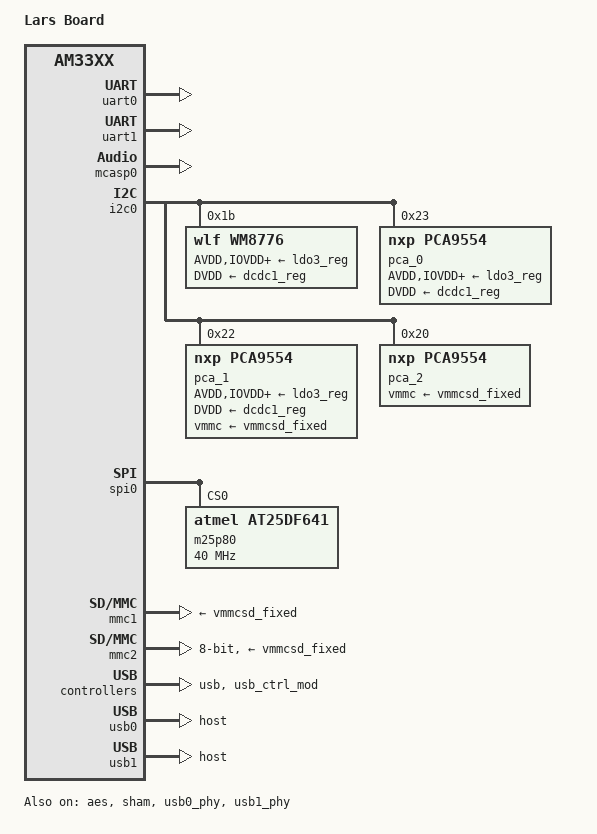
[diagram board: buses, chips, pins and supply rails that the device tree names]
/*
 * Copyright (C) 2012 Texas Instruments Incorporated - http://www.ti.com/
 *
 * This program is free software; you can redistribute it and/or modify
 * it under the terms of the GNU General Public License version 2 as
 * published by the Free Software Foundation.
 */
/dts-v1/;

#include "am33xx.dtsi"
#include "am335x-bone-common.dtsi"

/ {
	model = "Lars Board";
	compatible = "ti,am33xx";	
};

&am33xx_pinmux {
	mcasp0_pins: mcasp0_pins {
		pinctrl-single,pins = <
		AM33XX_IOPAD(0x990, 0x08)
		AM33XX_IOPAD(0x994, 0x08) 
		AM33XX_IOPAD(0x998, 0x08)
		AM33XX_IOPAD(0x99c, 0x28)
		AM33XX_IOPAD(0x9a0, 0x08)
		AM33XX_IOPAD(0x9a4, 0x08)
		AM33XX_IOPAD(0x9a8, 0x28)
		AM33XX_IOPAD(0x9ac, 0x28)
		>;
	};
	
	uart1_pins: uart1_pins {
		pinctrl-single,pins = <0x180 0x30>;
	};
	
	rstctl_pins: rstctl_pins {
		pinctrl-single,pins = <0x50 0x17>;
	};
};

&uart0 {
	status = "okay";
};

&uart1 {
	pinctrl-names = "default";
	pinctrl-0 = <&uart1_pins>;
	status = "okay";
};

&mcasp0	{
	#sound-dai-cells = <0>;
	pinctrl-names = "default";
	pinctrl-0 = <&mcasp0_pins>;
	rx-num-evt = <1>;
	tx-num-evt = <1>;
	serial-dir = <1 2 0 0 0 0 0 0 0 0 0 0 0 0 0 0>;
	num-serializer = <16>;
	tdm-slots = <2>;
	op-mode = <0>;
	status = "okay";
};

&i2c0 {
	status = "okay";
	AVDD-supply = <&ldo3_reg>;
    	IOVDD-supply = <&ldo3_reg>;
    	DRVDD-supply = <&ldo3_reg>;
    	DVDD-supply = <&dcdc1_reg>;
	wm8776: wm8776@1b {
		#sound-dai-cells = <0>;
		reg = <0x1b>;
		compatible = "wlf,wm8776";
		AVDD-supply = <&ldo3_reg>;
    		IOVDD-supply = <&ldo3_reg>;
    		DRVDD-supply = <&ldo3_reg>;
    		DVDD-supply = <&dcdc1_reg>;
		};
		
	pca_0: pca9554@23 {
		reg = <0x23>;
		compatible = "nxp,pca9554";
		AVDD-supply = <&ldo3_reg>;
    		IOVDD-supply = <&ldo3_reg>;
    		DRVDD-supply = <&ldo3_reg>;
    		DVDD-supply = <&dcdc1_reg>;
		linux,gpio-base = <232>;
		};

	pca_1: pca9554@22 {
		reg = <0x22>;
		AVDD-supply = <&ldo3_reg>;
    		IOVDD-supply = <&ldo3_reg>;
    		DRVDD-supply = <&ldo3_reg>;
    		DVDD-supply = <&dcdc1_reg>;
		compatible = "nxp,pca9554";
		vmmc-supply = <&vmmcsd_fixed>;
		linux,gpio-base = <240>;
		};

	pca_2: pca9554@20 {
		reg = <0x20>;
		compatible = "nxp,pca9554";
		vmmc-supply = <&vmmcsd_fixed>;
		linux,gpio-base = <248>;
	};
};

&i2c1 {
	status = "disabled";
};

&i2c2 {
	status = "disabled";
};

&spi0 {
	status = "okay";
	m25p80@0 {
		m25p,fast-read;
		spi-max-frequency = <0x2625a00>;
		reg = <0x00>;
		compatible = "atmel,at25df641";
		#size-cells = <0x01>;
		#address-cells = <0x01>;

		ethaddr@7F0000 {
		reg = <0x7f0000 0x10000>;
		label = "MAC Address";
		};

		uImage@100000 {
		read-only;
		reg = <0x100000 0x500000>;
		label = "Linux Kernel";
		};

		ubootenv@F0000 {
		reg = <0xf0000 0x10000>;
		label = "U-Boot Environment";
		};

		uboot@80000 {
		read-only;
		reg = <0x80000 0x70000>;
		label = "U-Boot";
		};

		spl@0 {
		read-only;
		reg = <0x00 0x80000>;
		label = "U-Boot SPL";
		};
	};
};

&mmc1 {
	vmmc-supply = <&vmmcsd_fixed>;
};

&mmc2 {
	vmmc-supply = <&vmmcsd_fixed>;
	pinctrl-names = "default";
	pinctrl-0 = <&emmc_pins>;
	bus-width = <8>;
	status = "okay";
};

&gpu {
	status = "disabled";
};

&aes {
	status = "okay";
};

&sham {
	status = "okay";
};

&usb {
	status = "okay";
};

&usb_ctrl_mod {
	status = "okay";
};

&usb0_phy {
	status = "okay";
};

&usb1_phy {
	status = "okay";
};

&usb0 {
	status = "okay";
	dr_mode = "host";
};

&usb1 {
	status = "okay";
	dr_mode = "host";
};

&cppi41dma  {
	status = "okay";
};

/ {
	sound {
 		compatible = "simple-audio-card";
		simple-audio-card,name = "Simple Audio AM335x Roomplayer";
		simple-audio-card,bitclock-master = <&cpu_master>;
		simple-audio-card,frame-master = <&cpu_master>;
		simple-audio-card,format = "i2s";
		
		cpu_master: simple-audio-card,cpu {
		    sound-dai = <&mcasp0>;
		    system-clock-frequency = <11289600>;
		};
		sound_master: simple-audio-card,codec {
		    sound-dai = <&wm8776>;
		};
	};
};
